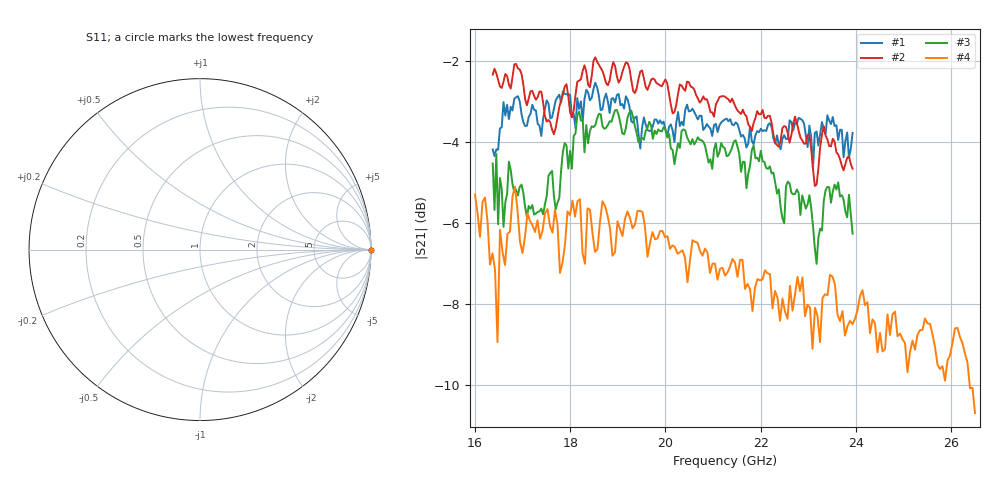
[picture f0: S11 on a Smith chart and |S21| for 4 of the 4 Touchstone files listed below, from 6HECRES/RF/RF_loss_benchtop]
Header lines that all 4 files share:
!Agilent N9918A: A.07.57
!Timezone: (GMT-08:00) Pacific Time (US & Canada)
!Model: N9918A
!Serial: MY53103598
!GPS Latitude:
!GPS Longitude:
!GPS TimeStamp: 0001-01-01 00:00:00Z
!GPS Seconds Since Last Read: 0
!Correction: S11()S21(Rdy)S12()S22()
!S2P File: Measurements:S11,S21,S12,S22:
# Hz S DB R 50
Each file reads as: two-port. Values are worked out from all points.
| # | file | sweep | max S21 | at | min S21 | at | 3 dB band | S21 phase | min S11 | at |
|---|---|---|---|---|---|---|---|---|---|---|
| 1 | HE6-EXT-LONG-U-WAFL.s2p | 16.37 GHz to 23.93 GHz | -2.54 dB | 18.53 GHz | -4.6 dB | 23.1 GHz | 16.37 GHz-23.93 GHz | -65 deg at 20.15 GHz | 0.0 dB | 16.37 GHz |
| 2 | HE6-WAFL-SMALL.s2p | 16.37 GHz to 23.93 GHz | -1.91 dB | 18.53 GHz | -5.1 dB | 23.14 GHz | 16.37 GHz-23.1 GHz | 149 deg at 20.15 GHz | 0.0 dB | 16.37 GHz |
| 3 | HE6-WHOLE-CATASTROPHE.s2p | 16.37 GHz to 23.93 GHz | -3.21 dB | 18.98 GHz | -7.0 dB | 23.17 GHz | 16.37 GHz-23.1 GHz | 120 deg at 20.15 GHz | 0.0 dB | 16.37 GHz |
| 4 | OUT.s2p | 16 GHz to 26.5 GHz | -5.10 dB | 16.84 GHz | -10.7 dB | 26.5 GHz | 16.52 GHz-21.77 GHz | 90 deg at 21.25 GHz | 0.0 dB | 16 GHz |
